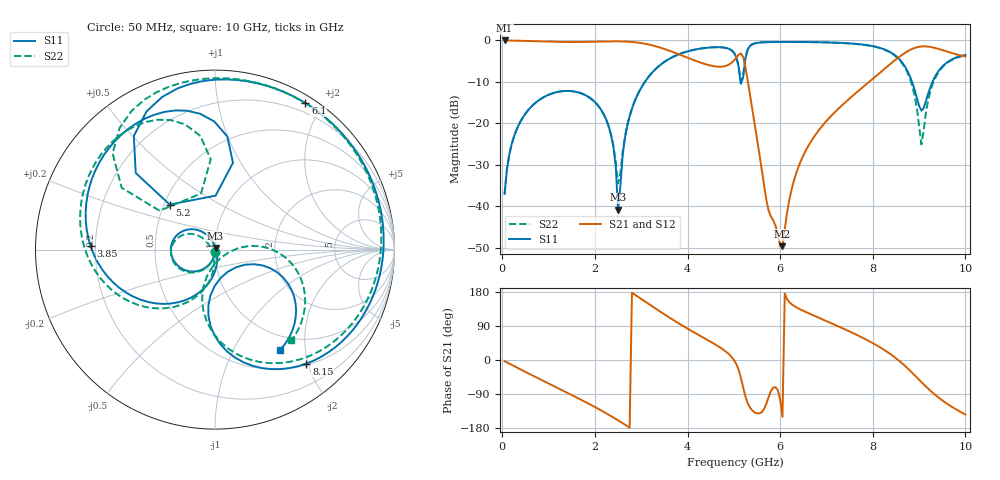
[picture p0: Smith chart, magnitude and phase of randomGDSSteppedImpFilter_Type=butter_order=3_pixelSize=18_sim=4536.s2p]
! freq	dB(S11)	phase(S11)	dB(S12)	phase(S12)
!  dB(S21)	phase(S21)	dB(S22)	phase(S22)
!S-par simulation data
#  GHz  S  DB  R 50
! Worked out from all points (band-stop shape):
!   200 points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, 50 MHz to 10 GHz, reference 50 ohm
!   highest |S21| = -0.01 dB at 50 MHz (marker M1); lowest = -49.6 dB at 6.05 GHz (marker M2)
!   |S21| within 3 dB of the highest: start of sweep to 3.734 GHz; 8.693 GHz to 9.695 GHz (1.002 GHz wide, 10.9 % of centre)
!   lowest |S11| = -40.8 dB at 2.5 GHz (marker M3), VSWR 1.02, Z = 50.3 + j0.854 ohm
!   |S11| at or under -10 dB: start of sweep to 3.08 GHz; 5.144833 GHz to 5.165069 GHz (20.24 MHz wide, 0.393 % of centre); 8.849 GHz to 9.29 GHz (441.2 MHz wide, 4.86 % of centre)
!   |S22| runs from -37.0 to -0.4 dB; largest |S21 - S12| = 0
!   S11 on the Smith chart (normalised r, x): 50 MHz: 1.00, -0.03; 3.85 GHz: 0.18, +0.01; 5.2 GHz: 0.53, +0.31; 6.1 GHz: 0.09, +1.79; 8.15 GHz: 0.52, -1.97; 10 GHz: 0.77, -1.55
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0.05  -37.00 -92.5  -0.01 -3.2  -0.01 -3.2  -37.02 -92.5
0.55  -16.92 -125.8  -0.14 -34.5  -0.14 -34.5  -16.92 -123.9
1.75  -12.97 158.2  -0.36 -108.0  -0.36 -108.0  -12.97 165.7
2.3  -20.84 118.4  -0.23 -144.7  -0.23 -144.7  -20.76 137.0
2.5  -40.84 69.2  -0.22 -159.3  -0.22 -159.3  -34.48 -177.9
2.75  -18.30 -90.1  -0.33 -178.5  -0.33 -178.5  -18.15 -95.3
3.4  -6.02 -146.0  -1.69 128.5  -1.69 128.5  -6.00 -140.3
3.85  -3.18 178.5  -3.51 93.7  -3.51 93.7  -3.17 -173.3
4.5  -1.69 132.5  -6.07 48.0  -6.07 48.0  -1.68 143.3
5.05  -3.96 83.8  -4.20 -10.1  -4.20 -10.1  -3.90 97.4
5.2  -8.96 135.2  -3.96 -72.0  -3.96 -72.0  -8.48 144.9
5.45  -0.70 103.1  -20.16 -138.3  -20.16 -138.3  -0.70 115.3
5.75  -0.40 79.0  -41.01 -98.2  -41.01 -98.2  -0.41 91.9
6.05  -0.36 61.1  -49.61 -150.1  -49.61 -150.1  -0.37 74.2
6.1  -0.36 58.3  -45.60 175.5  -45.60 175.5  -0.37 71.4
6.7  -0.40 26.8  -23.76 118.7  -23.76 118.7  -0.41 39.3
8.15  -1.78 -51.2  -7.83 34.0  -7.83 34.0  -1.84 -44.7
8.35  -2.66 -64.7  -5.94 18.2  -5.94 18.2  -2.74 -60.0
8.8  -8.59 -95.6  -2.31 -27.6  -2.31 -27.6  -9.15 -100.7
9.05  -16.93 -60.2  -1.45 -58.1  -1.45 -58.1  -25.08 -57.0
9.35  -8.62 -20.2  -1.83 -92.1  -1.83 -92.1  -9.05 -2.6
10  -3.52 -57.1  -3.88 -143.9  -3.88 -143.9  -3.59 -49.9
